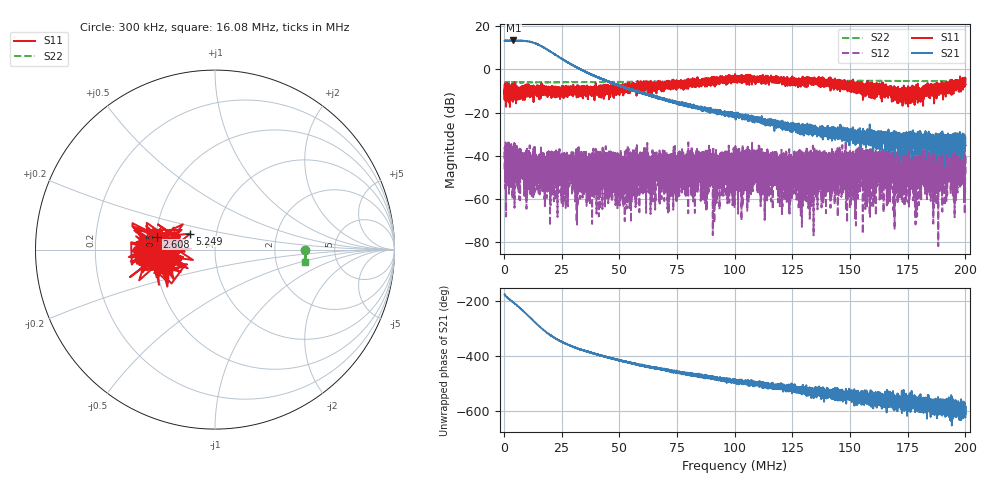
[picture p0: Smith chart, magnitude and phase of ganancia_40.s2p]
# Hz S DB R 50
! CMT, M5065, 19127446, 24.2.4/2
! Date: 10/29/2024 12:38:13 PM
! Data: Format (Calibration Info)
! Freq	S11:dB/Ang(F2)	S21:dB/Ang(F2)	S12:dB/Ang(F2)	S22:dB/Ang(F2)
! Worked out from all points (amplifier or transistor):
!   9000 points, 300 kHz to 200 MHz, reference 50 ohm
!   highest |S21| = 13.4 dB at 4.073 MHz (marker M1)
!   |S21| within 3 dB of that: start of sweep to 16.87 MHz
!   unconditionally stable (mu >= 1): start of sweep to end of sweep
!   at 33.59 MHz: K = 58.39, MAG = 1.6 dB, |S12| = -44.7 dB
!   at 100.2 MHz: K = 275.72, MAG = -16.6 dB, |S12| = -41.8 dB
!   at 200 MHz: K = 4524.05, MAG = -32.9 dB, |S12| = -48.6 dB
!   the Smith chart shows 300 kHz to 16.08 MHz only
!   S11 on the Smith chart (normalised r, x): 300 kHz: 0.39, -0.00; 2.608 MHz: 0.51, +0.08; 5.249 MHz: 0.75, +0.14; 16.08 MHz: 0.57, -0.15
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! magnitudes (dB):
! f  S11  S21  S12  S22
! 300 kHz  -7.2  13.3  -46.3  -6.0
! 2.608 MHz  -9.6  13.3  -48.2  -6.0
! 4.073 MHz  -9.9  13.4  -55.0  -6.0
! 5.249 MHz  -15.7  13.3  -37.5  -6.0
! 16.08 MHz  -10.9  10.8  -48.3  -5.9
! 33.59 MHz  -10.4  -0.1  -44.7  -5.9
! 37.27 MHz  -8.3  -2.1  -47.2  -5.9
! 42.75 MHz  -7.9  -4.6  -52.4  -5.8
! 51.01 MHz  -7.6  -7.9  -45.4  -5.8
! 66.87 MHz  -7.9  -12.9  -53.8  -5.7
! 71.65 MHz  -6.8  -14.4  -60.1  -5.7
! 77.1 MHz  -6.1  -15.9  -57.7  -5.7
! 90.73 MHz  -4.7  -18.9  -47.0  -5.6
! 100.2 MHz  -4.0  -20.2  -41.8  -5.6
! 133.4 MHz  -5.4  -26.2  -42.0  -5.3
! 166.7 MHz  -8.5  -34.1  -34.1  -5.3
! 178.4 MHz  -10.4  -34.0  -71.7  -5.4
! 182.4 MHz  -9.0  -33.6  -43.4  -5.4
! 186.2 MHz  -8.3  -33.5  -44.8  -5.4
! 193.3 MHz  -6.6  -39.9  -39.7  -5.5
! 198.4 MHz  -5.2  -41.5  -48.8  -5.5
! 200 MHz  -7.1  -35.3  -48.6  -5.4
